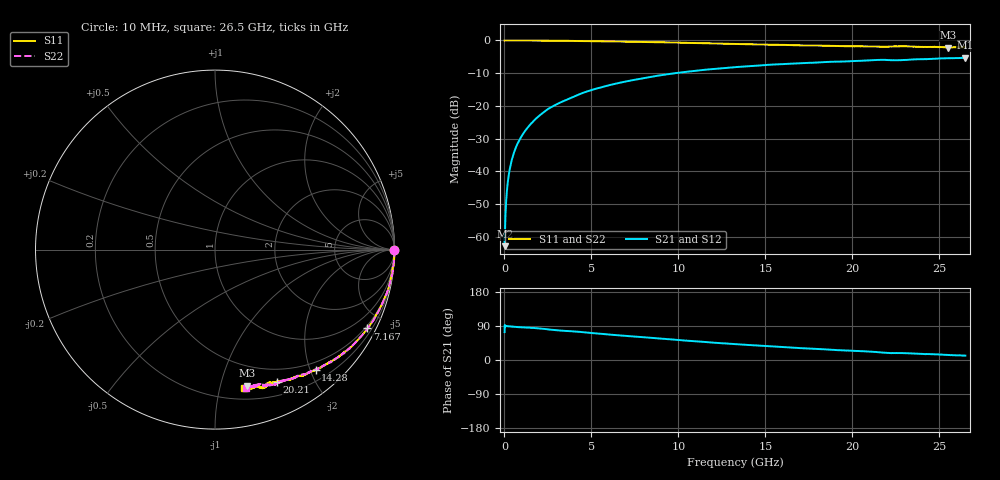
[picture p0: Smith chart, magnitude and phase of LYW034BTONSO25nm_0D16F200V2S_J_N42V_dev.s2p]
!Keysight Technologies,N5222B,MY61253708,A.15.00.15
!Date: Wednesday, June 19, 2024 09:02:11
!Correction: S11(C  2-Port  )
!S21(C  2-Port  )
!S12(C  2-Port  )
!S22(C  2-Port  )
!S2P File: Measurements: S11, S21, S12, S22:
# Hz S  RI  R 50
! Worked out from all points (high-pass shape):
!   2651 points, 10 MHz to 26.5 GHz, reference 50 ohm
!   highest |S21| = -5.27 dB at 26.5 GHz (marker M1); lowest = -62.9 dB at 20 MHz (marker M2)
!   |S21| within 3 dB of the highest: 12.99383 GHz to 13.02195 GHz (28.12 MHz wide, 0.216 % of centre); 13.05 GHz to end of sweep
!   lowest |S11| = -2.2 dB at 25.5 GHz (marker M3), VSWR 8.01, Z = 15.8 - j60.6 ohm
!   |S11| at or under -10 dB: nowhere
!   |S22| runs from -2.1 to 0.0 dB; largest |S21 - S12| = 0.0074
!   S11 on the Smith chart (normalised r, x): 10 MHz: open; 7.167 GHz: 0.40, -4.07; 14.28 GHz: 0.37, -2.09; 20.21 GHz: 0.35, -1.52; 26.5 GHz: 0.29, -1.19
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1e7  0.9987 -0.00229  0.000278 0.000943  -6.33e-07 0.000649  0.9984 -0.000834
1.999623e7  0.9992 -0.00212  -3.09e-05 0.000716  -2.67e-05 0.000815  0.9992 -0.00213
8.996981e7  0.9999 -0.00606  2.74e-05 0.00319  3.8e-05 0.00318  0.9995 -0.00574
1.799358e8  0.9999 -0.0125  0.000117 0.00635  8.84e-05 0.00638  0.9996 -0.012
2.29917e8  0.9994 -0.0167  0.00013 0.00813  0.000131 0.00819  0.9991 -0.0159
2.998906e8  0.9996 -0.0214  0.000233 0.0106  0.000234 0.0106  0.9993 -0.0206
4.098491e8  0.999 -0.029  0.000426 0.0144  0.000432 0.0145  0.9992 -0.0279
5.497962e8  0.9986 -0.0387  0.000755 0.0193  0.000729 0.0195  0.9985 -0.0378
9.196566e8  0.9972 -0.0644  0.00201 0.0321  0.00201 0.0323  0.997 -0.0636
1.509434e9  0.9891 -0.1053  0.00491 0.0528  0.00493 0.0531  0.9918 -0.1028
2.379106e9  0.9796 -0.1617  0.0122 0.0842  0.0124 0.0847  0.9806 -0.162
4.428332e9  0.9362 -0.291  0.0433 0.1489  0.0435 0.1498  0.9379 -0.2885
7.167298e9  0.8495 -0.4393  0.1097 0.2149  0.111 0.2159  0.8516 -0.4381
8.846664e9  0.7855 -0.5138  0.1582 0.2434  0.1595 0.2442  0.7869 -0.5124
1.3255e10  0.6024 -0.6478  0.2901 0.2614  0.2922 0.2614  0.6056 -0.6468
1.428461e10  0.5612 -0.6702  0.3174 0.2569  0.3193 0.2564  0.5646 -0.6663
1.767333e10  0.4271 -0.7191  0.3957 0.2267  0.3988 0.2256  0.4379 -0.7171
2.021237e10  0.3453 -0.7358  0.4447 0.1974  0.446 0.195  0.3579 -0.7363
2.209166e10  0.2939 -0.7452  0.475 0.16  0.4765 0.158  0.2876 -0.7518
2.308129e10  0.2649 -0.7728  0.4796 0.1554  0.4803 0.1556  0.2649 -0.7539
2.550038e10  0.1772 -0.7577  0.5209 0.1206  0.5223 0.1219  0.1973 -0.7624
2.65e10  0.1592 -0.7722  0.5343 0.1097  0.5333 0.1071  0.1714 -0.7716
